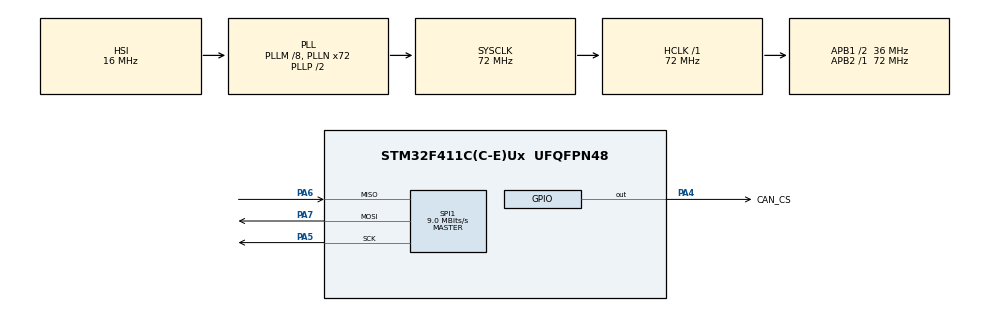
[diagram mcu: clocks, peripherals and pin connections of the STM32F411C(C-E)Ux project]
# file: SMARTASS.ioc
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Mcu.Family=STM32F4
Mcu.Name=STM32F411C(C-E)Ux
Mcu.Package=UFQFPN48
NVIC.PriorityGroup=NVIC_PRIORITYGROUP_4
PA13.Mode=Serial_Wire
PA13.Signal=SYS_JTMS-SWDIO
PA14.Mode=Serial_Wire
PA14.Signal=SYS_JTCK-SWCLK
PA4.GPIO_Label=CAN_CS
PA4.Signal=GPIO_Output
PA5.Mode=Full_Duplex_Master
PA5.Signal=SPI1_SCK
PA6.Mode=Full_Duplex_Master
PA6.Signal=SPI1_MISO
PA7.Mode=Full_Duplex_Master
PA7.Signal=SPI1_MOSI
PH0\ -\ OSC_IN.Mode=HSE-External-Oscillator
PH0\ -\ OSC_IN.Signal=RCC_OSC_IN
PH1\ -\ OSC_OUT.Mode=HSE-External-Oscillator
PH1\ -\ OSC_OUT.Signal=RCC_OSC_OUT
ProjectManager.HeapSize=0x200
ProjectManager.StackSize=0x400
ProjectManager.TargetToolchain=STM32CubeIDE
RCC.48MHZClocksFreq_Value=36000000
RCC.AHBFreq_Value=72000000
RCC.APB1CLKDivider=RCC_HCLK_DIV2
RCC.APB1Freq_Value=36000000
RCC.APB1TimFreq_Value=72000000
RCC.APB2Freq_Value=72000000
RCC.APB2TimFreq_Value=72000000
RCC.CortexFreq_Value=72000000
RCC.HCLKFreq_Value=72000000
RCC.HSE_VALUE=25000000
RCC.HSI_VALUE=16000000
RCC.LSE_VALUE=32768
RCC.PLLM=8
RCC.PLLN=72
RCC.SYSCLKFreq_VALUE=72000000
RCC.SYSCLKSource=RCC_SYSCLKSOURCE_PLLCLK
RCC.VCOOutputFreq_Value=144000000
SPI1.BaudRatePrescaler=SPI_BAUDRATEPRESCALER_8
SPI1.CalculateBaudRate=9.0 MBits/s
SPI1.Direction=SPI_DIRECTION_2LINES
SPI1.Mode=SPI_MODE_MASTER
SPI1.VirtualType=VM_MASTER
board=custom

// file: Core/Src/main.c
/* USER CODE BEGIN Header */
/**
  ******************************************************************************
  * @file           : main.c
  * @brief          : Main program body
  ******************************************************************************
  * @attention
  *
  * Copyright (c) 2025 STMicroelectronics.
  * All rights reserved.
  *
  * This software is licensed under terms that can be found in the LICENSE file
  * in the root directory of this software component.
  * If no LICENSE file comes with this software, it is provided AS-IS.
  *
  ******************************************************************************
  */
/* USER CODE END Header */
#include "main.h"

/* USER CODE BEGIN Includes */
#include "CANSPI.h"
/* USER CODE END Includes */

SPI_HandleTypeDef hspi1;
// Define structures for CAN messages
uCAN_MSG rxMessage;
uCAN_MSG txMessage;
/* USER CODE BEGIN PV */

typedef struct {
    uint32_t last_heartbeat;
    uint8_t active;
} DeviceStatus;

#define NUM_HEARTBEATS 4
#define NUM_THRUSTERS 6
#define NUM_ARMS 4
#define CAN_ID_HEARTBEAT_BASE 0x200
#define CAN_ID_THRUSTER_CURRENT_BASE 0x300
#define CAN_ID_THRUSTER_PWM_BASE 0x310
#define CAN_ID_IMU 0x400
#define CAN_ID_ARM_BASE 0x500
#define CAN_ID_DEPTH 0x600
#define CAN_ID_INDICATOR 0x700

DeviceStatus heartbeats[NUM_HEARTBEATS];

void process_heartbeat(uint8_t device_id) {
    if (device_id < NUM_HEARTBEATS) {
        heartbeats[device_id].last_heartbeat = HAL_GetTick();
        heartbeats[device_id].active = 1;
    }
}

void check_heartbeats() {
    uint32_t current_time = HAL_GetTick();
    for (int i = 0; i < NUM_HEARTBEATS; i++) {
        if (heartbeats[i].active && (current_time - heartbeats[i].last_heartbeat > 5000)) {
            heartbeats[i].active = 0;
            log_error("Heartbeat lost: Device %d", i);
        }
    }
}

void process_thruster_current(uint8_t thruster_id, uint8_t data[8]) {
    if (thruster_id < NUM_THRUSTERS) {
        log_info("Thruster %d current: %d", thruster_id, data[0]);
    }
}

void process_thruster_pwm(uint8_t thruster_id, uint8_t data[8]) {
    if (thruster_id < NUM_THRUSTERS) {
        log_info("Thruster %d PWM: %d", thruster_id, data[0]);
    }
}

void process_imu(uint8_t data[8]) {
    log_info("IMU Data - Roll: %d, Pitch: %d, Yaw: %d, AccX: %d, AccY: %d, AccZ: %d",
             data[0], data[1], data[2], data[3], data[4], data[5]);
}

void process_arm(uint8_t arm_id, uint8_t data[8]) {
    if (arm_id < NUM_ARMS) {
        log_info("Arm %d feedback: %d", arm_id, data[0]);
    }
}

void process_depth(uint8_t data[8]) {
    log_info("Depth sensor reading: %d", data[0]);
}

void process_indicator(uint8_t data[8]) {
    log_info("Indicator status: %d", data[0]);
}

void CAN_Receive_Callback() {
    if (CANSPI_Receive(&rxMessage)) {
        uint8_t data[8] = {
            rxMessage.frame.data0, rxMessage.frame.data1, rxMessage.frame.data2, rxMessage.frame.data3,
            rxMessage.frame.data4, rxMessage.frame.data5, rxMessage.frame.data6, rxMessage.frame.data7
        };

        uint32_t id = rxMessage.frame.id;

        if (id >= CAN_ID_HEARTBEAT_BASE && id < CAN_ID_HEARTBEAT_BASE + NUM_HEARTBEATS) {
            process_heartbeat(id - CAN_ID_HEARTBEAT_BASE);
        } else if (id >= CAN_ID_THRUSTER_CURRENT_BASE && id < CAN_ID_THRUSTER_CURRENT_BASE + NUM_THRUSTERS) {
            process_thruster_current(id - CAN_ID_THRUSTER_CURRENT_BASE, data);
        } else if (id >= CAN_ID_THRUSTER_PWM_BASE && id < CAN_ID_THRUSTER_PWM_BASE + NUM_THRUSTERS) {
            process_thruster_pwm(id - CAN_ID_THRUSTER_PWM_BASE, data);
        } else if (id == CAN_ID_IMU) {
            process_imu(data);
        } else if (id >= CAN_ID_ARM_BASE && id < CAN_ID_ARM_BASE + NUM_ARMS) {
            process_arm(id - CAN_ID_ARM_BASE, data);
        } else if (id == CAN_ID_DEPTH) {
            process_depth(data);
        } else if (id == CAN_ID_INDICATOR) {
            process_indicator(data);
        } else {
            log_warning("Unknown CAN message ID: %lx", id);
        }
    }
}

void log_error(const char *format, ...) {
    // In Progress
}

void log_warning(const char *format, ...) {
    // In Progress
}

void log_info(const char *format, ...) {
    // In Progress
}

/* USER CODE END PV */

void SystemClock_Config(void);
static void MX_GPIO_Init(void);
static void MX_SPI1_Init(void);

int main(void)
{

		HAL_Init();
	    SystemClock_Config();
	    MX_GPIO_Init();
	    MX_SPI1_Init();
	    CANSPI_Initialize();

	    while (1) {
	        CAN_Receive_Callback();
	        check_heartbeats();
	        HAL_Delay(100);
	    }
  /* USER CODE END 3 */
}

void SystemClock_Config(void)
{
  RCC_OscInitTypeDef RCC_OscInitStruct = {0};
  RCC_ClkInitTypeDef RCC_ClkInitStruct = {0};

  /** Configure the main internal regulator output voltage
  */
  __HAL_RCC_PWR_CLK_ENABLE();
  __HAL_PWR_VOLTAGESCALING_CONFIG(PWR_REGULATOR_VOLTAGE_SCALE1);

  /** Initializes the RCC Oscillators according to the specified parameters
  * in the RCC_OscInitTypeDef structure.
  */
  RCC_OscInitStruct.OscillatorType = RCC_OSCILLATORTYPE_HSI;
  RCC_OscInitStruct.HSIState = RCC_HSI_ON;
  RCC_OscInitStruct.HSICalibrationValue = RCC_HSICALIBRATION_DEFAULT;
  RCC_OscInitStruct.PLL.PLLState = RCC_PLL_ON;
  RCC_OscInitStruct.PLL.PLLSource = RCC_PLLSOURCE_HSI;
  RCC_OscInitStruct.PLL.PLLM = 8;
  RCC_OscInitStruct.PLL.PLLN = 72;
  RCC_OscInitStruct.PLL.PLLP = RCC_PLLP_DIV2;
  RCC_OscInitStruct.PLL.PLLQ = 4;
  if (HAL_RCC_OscConfig(&RCC_OscInitStruct) != HAL_OK)
  {
    Error_Handler();
  }

  /** Initializes the CPU, AHB and APB buses clocks
  */
  RCC_ClkInitStruct.ClockType = RCC_CLOCKTYPE_HCLK|RCC_CLOCKTYPE_SYSCLK
                              |RCC_CLOCKTYPE_PCLK1|RCC_CLOCKTYPE_PCLK2;
  RCC_ClkInitStruct.SYSCLKSource = RCC_SYSCLKSOURCE_PLLCLK;
  RCC_ClkInitStruct.AHBCLKDivider = RCC_SYSCLK_DIV1;
  RCC_ClkInitStruct.APB1CLKDivider = RCC_HCLK_DIV2;
  RCC_ClkInitStruct.APB2CLKDivider = RCC_HCLK_DIV1;

  if (HAL_RCC_ClockConfig(&RCC_ClkInitStruct, FLASH_LATENCY_2) != HAL_OK)
  {
    Error_Handler();
  }
}

static void MX_SPI1_Init(void)
{

  /* SPI1 parameter configuration*/
  hspi1.Instance = SPI1;
  hspi1.Init.Mode = SPI_MODE_MASTER;
  hspi1.Init.Direction = SPI_DIRECTION_2LINES;
  hspi1.Init.DataSize = SPI_DATASIZE_8BIT;
  hspi1.Init.CLKPolarity = SPI_POLARITY_LOW;
  hspi1.Init.CLKPhase = SPI_PHASE_1EDGE;
  hspi1.Init.NSS = SPI_NSS_SOFT;
  hspi1.Init.BaudRatePrescaler = SPI_BAUDRATEPRESCALER_8;
  hspi1.Init.FirstBit = SPI_FIRSTBIT_MSB;
  hspi1.Init.TIMode = SPI_TIMODE_DISABLE;
  hspi1.Init.CRCCalculation = SPI_CRCCALCULATION_DISABLE;
  hspi1.Init.CRCPolynomial = 10;
  if (HAL_SPI_Init(&hspi1) != HAL_OK)
  {
    Error_Handler();
  }

}

static void MX_GPIO_Init(void)
{
  GPIO_InitTypeDef GPIO_InitStruct = {0};

  /* GPIO Ports Clock Enable */
  __HAL_RCC_GPIOH_CLK_ENABLE();
  __HAL_RCC_GPIOA_CLK_ENABLE();

  /*Configure GPIO pin Output Level */
  HAL_GPIO_WritePin(CAN_CS_GPIO_Port, CAN_CS_Pin, GPIO_PIN_RESET);

  /*Configure GPIO pin : CAN_CS_Pin */
  GPIO_InitStruct.Pin = CAN_CS_Pin;
  GPIO_InitStruct.Mode = GPIO_MODE_OUTPUT_PP;
  GPIO_InitStruct.Pull = GPIO_NOPULL;
  GPIO_InitStruct.Speed = GPIO_SPEED_FREQ_LOW;
  HAL_GPIO_Init(CAN_CS_GPIO_Port, &GPIO_InitStruct);

}

void Error_Handler(void)
{
  __disable_irq();
  while (1)
  {
  }
}
